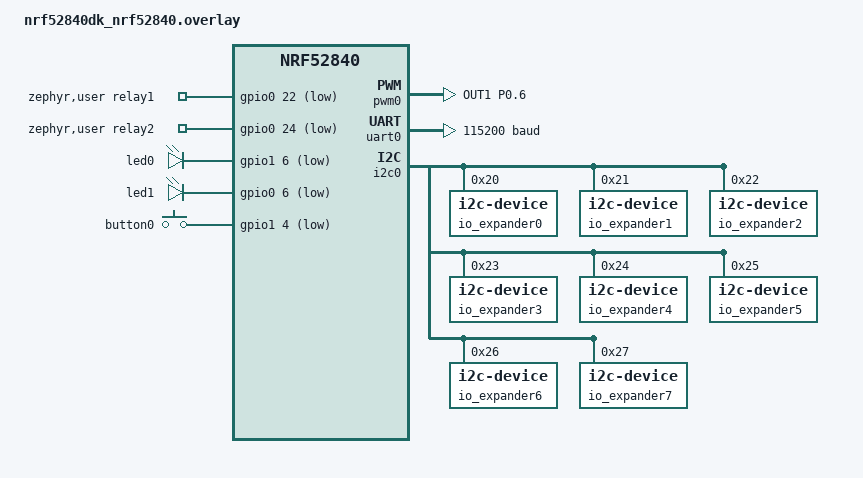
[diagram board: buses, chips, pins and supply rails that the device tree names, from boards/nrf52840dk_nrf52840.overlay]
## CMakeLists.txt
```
#
# Copyright (c) 2021 Nordic Semiconductor ASA
#
# SPDX-License-Identifier: LicenseRef-Nordic-5-Clause
#

cmake_minimum_required(VERSION 3.20.0)

find_package(Zephyr HINTS $ENV{ZEPHYR_BASE})

project(matter-plug-mote)

# Enable GNU STD support.
include(${ZEPHYR_CONNECTEDHOMEIP_MODULE_DIR}/config/nrfconnect/app/enable-gnu-std.cmake)

# NORDIC SDK APP START

# Include all source files that are located in the Matter common directory.
include(${ZEPHYR_NRF_MODULE_DIR}/samples/matter/common/cmake/source_common.cmake)

# Include Data Model utils
include(${ZEPHYR_NRF_MODULE_DIR}/samples/matter/common/cmake/data_model.cmake)

include(${ZEPHYR_NRF_MODULE_DIR}/samples/matter/common/cmake/zap_helpers.cmake)
ncs_get_zap_parent_dir(ZAP_PARENT_DIR)

target_include_directories(app PRIVATE
    src
    ${ZAP_PARENT_DIR}
)

if(CONFIG_AWS_IOT_INTEGRATION)
    add_subdirectory(src/aws_iot_integration)
endif()

target_sources(app PRIVATE
    src/io_relay.cpp
    src/app_task.cpp
    src/main.cpp
    src/zcl_callbacks.cpp
    ${CHIP_ROOT}/src/app/util/persistence/DeferredAttributePersistenceProvider.cpp
)

if(CONFIG_APP_NETWORK_WATCHDOG)
    target_sources(app PRIVATE src/network_watchdog.cpp)
endif()

ncs_configure_data_model()
# NORDIC SDK APP END
```

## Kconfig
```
#
# Copyright (c) 2022 Nordic Semiconductor
#
# SPDX-License-Identifier: LicenseRef-Nordic-5-Clause
#
mainmenu "Matter nRF Connect Light Bulb Example Application"

# Sample configuration used for Thread networking
if OPENTHREAD

choice OPENTHREAD_NORDIC_LIBRARY_CONFIGURATION
	default OPENTHREAD_NORDIC_LIBRARY_FTD
endchoice

choice OPENTHREAD_DEVICE_TYPE
	default OPENTHREAD_FTD
endchoice

endif # OPENTHREAD

source "${ZEPHYR_CONNECTEDHOMEIP_MODULE_DIR}/config/nrfconnect/chip-module/Kconfig.features"
source "${ZEPHYR_CONNECTEDHOMEIP_MODULE_DIR}/config/nrfconnect/chip-module/Kconfig.defaults"
source "${ZEPHYR_NRF_MODULE_DIR}/samples/matter/common/src/Kconfig"
source "Kconfig.zephyr"
rsource "src/aws_iot_integration/Kconfig"
rsource "src/Kconfig.network_watchdog"
```

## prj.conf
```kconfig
#
# Copyright (c) 2022 Nordic Semiconductor ASA
#
# SPDX-License-Identifier: LicenseRef-Nordic-5-Clause
#

# Enable CHIP
CONFIG_CHIP=y
CONFIG_CHIP_PROJECT_CONFIG="src/chip_project_config.h"

# Configure ZAP file name
CONFIG_NCS_SAMPLE_MATTER_ZAP_FILE_PATH="${APPLICATION_CONFIG_DIR}/src/default_zap/smart_plugs.zap"

# 32773 == 0x8005 (smart plugs-app 8chan)
CONFIG_CHIP_DEVICE_PRODUCT_ID=32773
CONFIG_STD_CPP17=y

# Enable Matter pairing automatically on application start.
CONFIG_CHIP_ENABLE_PAIRING_AUTOSTART=y

# Enable Matter extended announcement and increase duration to 1 hour.
CONFIG_CHIP_BLE_EXT_ADVERTISING=y
CONFIG_CHIP_BLE_ADVERTISING_DURATION=60

# Add support for LEDs and buttons on Nordic development kits
CONFIG_DK_LIBRARY=y
CONFIG_PWM=n

# Enable logging for DK library (to see "Initializing LEDs" debug output)
CONFIG_LOG=y
CONFIG_DK_LIBRARY_LOG_LEVEL_INF=y

# Bluetooth Low Energy configuration
CONFIG_BT_DEVICE_NAME="MatterPlug"

# Other settings
CONFIG_THREAD_NAME=y
CONFIG_MPU_STACK_GUARD=y
CONFIG_RESET_ON_FATAL_ERROR=n
CONFIG_CHIP_LIB_SHELL=y
CONFIG_NCS_SAMPLE_MATTER_TEST_SHELL=y

# Reduce application size
CONFIG_USE_SEGGER_RTT=n

# Enable Factory Data feature
CONFIG_CHIP_FACTORY_DATA=y
CONFIG_CHIP_FACTORY_DATA_BUILD=y

# Disable APPROTECT for development
CONFIG_NRF_APPROTECT_USE_UICR=n
# CONFIG_NRF_APPROTECT_LOCK is not set

CONFIG_I2C=y
CONFIG_CLOCK_CONTROL_NRF_K32SRC_RC=y

# Hardware watchdog: reset if Main/Matter threads hang or loop forever
CONFIG_NCS_SAMPLE_MATTER_WATCHDOG=y

# Software watchdog: reboot if commissioned device stays offline too long
CONFIG_APP_NETWORK_WATCHDOG=y
```

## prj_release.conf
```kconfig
#
# Copyright (c) 2022 Nordic Semiconductor ASA
#
# SPDX-License-Identifier: LicenseRef-Nordic-5-Clause
#

# Enable CHIP
CONFIG_CHIP=y
CONFIG_CHIP_PROJECT_CONFIG="src/chip_project_config.h"

# Configure ZAP file name
CONFIG_NCS_SAMPLE_MATTER_ZAP_FILE_PATH="${APPLICATION_CONFIG_DIR}/src/default_zap/plug_mote.zap"

# 32773 == 0x8005 (example lighting-app)
CONFIG_CHIP_DEVICE_PRODUCT_ID=32773
CONFIG_STD_CPP17=y

# Enable Matter pairing automatically on application start.
CONFIG_CHIP_ENABLE_PAIRING_AUTOSTART=y

# Enable Matter extended announcement and increase duration to 1 hour.
CONFIG_CHIP_BLE_EXT_ADVERTISING=y
CONFIG_CHIP_BLE_ADVERTISING_DURATION=60

# Add support for LEDs and buttons on Nordic development kits
CONFIG_DK_LIBRARY=y
CONFIG_PWM=n

# Bluetooth Low Energy configuration
CONFIG_BT_DEVICE_NAME="MatterPlug"

# Enable system reset on fatal error
CONFIG_RESET_ON_FATAL_ERROR=y

# Disable all debug features
CONFIG_USE_SEGGER_RTT=n
CONFIG_SHELL=n
CONFIG_OPENTHREAD_SHELL=n
CONFIG_CONSOLE=n
CONFIG_UART_CONSOLE=n
CONFIG_SERIAL=n
CONFIG_LOG=n
CONFIG_LOG_MODE_MINIMAL=n
CONFIG_ASSERT_VERBOSE=n
CONFIG_ASSERT_NO_FILE_INFO=y
CONFIG_PRINTK=n
CONFIG_PRINTK_SYNC=n
CONFIG_THREAD_NAME=n
CONFIG_BOOT_BANNER=n

# Enable Factory Data feature
CONFIG_CHIP_FACTORY_DATA=y
CONFIG_CHIP_FACTORY_DATA_BUILD=y

# Hardware watchdog: reset if Main/Matter threads hang or loop forever
CONFIG_NCS_SAMPLE_MATTER_WATCHDOG=y

# Software watchdog: reboot if commissioned device stays offline too long
CONFIG_APP_NETWORK_WATCHDOG=y

# Enable LTO to decrease the flash usage.
CONFIG_LTO=y
CONFIG_ISR_TABLES_LOCAL_DECLARATION=y
```

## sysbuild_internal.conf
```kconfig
#
# Copyright (c) 2024 Nordic Semiconductor
#
# SPDX-License-Identifier: LicenseRef-Nordic-5-Clause
#

SB_CONFIG_MATTER=y
SB_CONFIG_PM_OVERRIDE_EXTERNAL_DRIVER_CHECK=n
SB_CONFIG_PM_EXTERNAL_FLASH_MCUBOOT_SECONDARY=n

# Enable the DFU image compression.
# Use SWAP_USING_OFFSET mode (fastest swap mode, no scratch partition needed)
# SB_CONFIG_MCUBOOT_MODE_OVERWRITE_ONLY is not set
SB_CONFIG_MCUBOOT_MODE_SWAP_USING_OFFSET=y
# Note: Compressed image support is only available with OVERWRITE_ONLY mode
# SB_CONFIG_MCUBOOT_COMPRESSED_IMAGE_SUPPORT is not set
```

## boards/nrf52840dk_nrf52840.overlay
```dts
/*
 * Copyright (c) 2021-2022 Nordic Semiconductor ASA
 *
 * SPDX-License-Identifier: LicenseRef-Nordic-5-Clause
 */

/ {
	chosen {
		nordic,pm-ext-flash = &mx25r64;
	};

		/*
	* In some default configurations within the nRF Connect SDK,
	* e.g. on nRF52840, the chosen zephyr,entropy node is &cryptocell.
	* This devicetree overlay ensures that default is overridden wherever it
	* is set, as this application uses the RNG node for entropy exclusively.
	*/

	chosen {
		zephyr,entropy = &rng;
	};


	/*
	* By default, PWM module is only configured for led0 (LED1 on the board).
	* The light bulb app, however, uses LED2 to show the state of the lighting,
	* including its brightness level.
	*/
	aliases {
		pwm-led1 = &pwm_led1;
	};

	/* Relay control pins - use zephyr,user node for custom GPIO configuration */
	zephyr,user {
		relay1-gpios = <&gpio0 22 GPIO_ACTIVE_LOW>;
		relay2-gpios = <&gpio0 24 GPIO_ACTIVE_LOW>;
	};

	pwmleds {
		pwm_led1: pwm_led_1 {
			pwms = <&pwm0 1 PWM_MSEC(100) PWM_POLARITY_NORMAL>;
		};
	};

};

&pwm0 {
	pinctrl-0 = <&pwm0_default_alt>;
	pinctrl-1 = <&pwm0_sleep_alt>;
	pinctrl-names = "default", "sleep";
};

&pinctrl {
	pwm0_default_alt: pwm0_default_alt {
		group1 {
			psels = <NRF_PSEL(PWM_OUT1, 0, 6)>;
			nordic,invert;
		};
	};

	pwm0_sleep_alt: pwm0_sleep_alt {
		group1 {
			psels = <NRF_PSEL(PWM_OUT1, 0, 6)>;
			low-power-enable;
		};
	};

};

/* Disable unused peripherals to reduce power consumption */
&adc {
	status = "disabled";
};
&uart1 {
	status = "disabled";
};

&spi1 {
	status = "disabled";
};
&spi3 {
	status = "disabled";
};
&usbd {
	status = "disabled";
};

&uart0 {
	current-speed = <115200>;
};

&led0 {
	gpios = <&gpio1 6 GPIO_ACTIVE_LOW>;
};
&led1 {
	gpios = <&gpio0 6 GPIO_ACTIVE_LOW>;
};
/* Disable led2 and led3 since they are now used as relay control pins */
&led2 {
	status = "disabled";
};

&led3 {
	status = "disabled";
};

&button0 {
	gpios = <&gpio1 4 GPIO_ACTIVE_LOW>;
	status = "okay";
};

&i2c0 {
	status = "okay";

    io_expander_0: io_expander@20{
        compatible = "i2c-device";
        reg = < 0x20 >;
        label = "io_expander0";
    };

    io_expander_1: io_expander@21{
        compatible = "i2c-device";
        reg = < 0x21 >;
        label = "io_expander1";
    };

    io_expander_2: io_expander@22{
        compatible = "i2c-device";
        reg = < 0x22 >;
        label = "io_expander2";
    };

    io_expander_3: io_expander@23{
        compatible = "i2c-device";
        reg = < 0x23 >;
        label = "io_expander3";
    };

    io_expander_4: io_expander@24{
        compatible = "i2c-device";
        reg = < 0x24 >;
        label = "io_expander4";
    };

    io_expander_5: io_expander@25{
        compatible = "i2c-device";
        reg = < 0x25 >;
        label = "io_expander5";
    };

    io_expander_6: io_expander@26{
        compatible = "i2c-device";
        reg = < 0x26 >;
        label = "io_expander6";
    };

    io_expander_7: io_expander@27{
        compatible = "i2c-device";
        reg = < 0x27 >;
        label = "io_expander7";
    };

};
```

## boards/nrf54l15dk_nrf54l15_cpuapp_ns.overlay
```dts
/*
 * Copyright (c) 2024 Nordic Semiconductor ASA
 *
 * SPDX-License-Identifier: LicenseRef-Nordic-5-Clause
 */

/ {
	aliases {
		// Configure PWM module for led1 (LED2 on the board)
		pwm-led1 = &pwm_led1;

		// Use watchdog wdt31 as the application watchdog
		watchdog0 = &wdt31;
	};

	chosen {
		nordic,pm-ext-flash = &mx25r64;
	};

	/* Relay control pins - use zephyr,user node for custom GPIO configuration */
	zephyr,user {
		relay1-gpios = <&gpio1 9 GPIO_ACTIVE_LOW>;
		relay2-gpios = <&gpio2 10 GPIO_ACTIVE_LOW>;
	};

	pwmleds {
		compatible = "pwm-leds";
		pwm_led1: pwm_led_1 {
			pwms = <&pwm20 1 PWM_MSEC(20) PWM_POLARITY_NORMAL>;
		};
	};
};

// restore full RRAM and SRAM space - by default some parts are dedicated to FLRP
&cpuapp_rram {
	reg = <0x0 DT_SIZE_K(1524)>;
};

&cpuapp_sram {
	reg = <0x20000000 DT_SIZE_K(256)>;
	ranges = <0x0 0x20000000  0x40000>;
};

// TODO: re-enable HWFC once it's fixed
&uart20 {
	/delete-property/ hw-flow-control;
};

&mx25r64 {
	status = "okay";
};

&pwm20 {
	status = "disabled";
	pinctrl-0 = <&pwm_default>;
	pinctrl-1 = <&pwm_sleep>;
	pinctrl-names = "default", "sleep";
};

&pinctrl {
	pwm_default: pwm_default {
		group1 {
			psels = <NRF_PSEL(PWM_OUT1, 1, 10)>;
		};
	};
	pwm_sleep: pwm_sleep {
		group1 {
			psels = <NRF_PSEL(PWM_OUT1, 1, 10)>;
			low-power-enable;
		};
	};

	uart20_default: uart20_default {
		group1 {
			psels = <NRF_PSEL(UART_TX, 1, 4)>;
		};

		group2 {
			psels = <NRF_PSEL(UART_RX, 1, 5)>;
			bias-pull-up;
		};
	};

	uart20_sleep: uart20_sleep {
		group1 {
			psels = <NRF_PSEL(UART_TX, 1, 4)>,
				<NRF_PSEL(UART_RX, 1, 5)>;
			low-power-enable;
		};
	};
};

&wdt31 {
	status = "okay";
};

// Change IRQ ids to handle button interrupts.

// The default values for nRF54L15 are 219 and 269,
// but with TF-M they are reserved for the secure domain
// (218 and 268 are reserved for the non-secure domain).
&gpiote20 {
	interrupts = <218 NRF_DEFAULT_IRQ_PRIORITY>;
};

&gpiote30 {
	interrupts = <268 NRF_DEFAULT_IRQ_PRIORITY>;
};

&clock {
	status = "okay";
};

&adc {
	status = "disabled";
};

&led0 {
	gpios = <&gpio1 5 GPIO_ACTIVE_LOW>;
};
&led1 {
	gpios = <&gpio1 7 GPIO_ACTIVE_LOW>;
};
/* Disable led2 and led3 since they are now used as relay control pins */
&led2 {
	status = "disabled";
};

&led3 {
	status = "disabled";
};

&button0 {
	gpios = <&gpio1 8 GPIO_ACTIVE_LOW>;
	status = "okay";
};


&button1 {
	status = "disabled";
};

&button2{
	status = "disabled";
};

&button3 {
	status = "disabled";
};

&pinctrl {
	i2c22_default: i2c22_default {
		group1 {
			psels = <NRF_PSEL(TWIM_SDA, 1, 13)>,
				<NRF_PSEL(TWIM_SCL, 1, 12)>;
			bias-pull-up;
		};
	};
	i2c22_sleep: i2c22_sleep {
		group1 {
			psels = <NRF_PSEL(TWIM_SDA, 1, 13)>,
				<NRF_PSEL(TWIM_SCL, 1, 12)>;
			low-power-enable;
			bias-pull-up;
		};
	};
};


&i2c22 {
	status = "okay";

	pinctrl-0 = <&i2c22_default>;
	pinctrl-1 = <&i2c22_sleep>;
	pinctrl-names = "default", "sleep";

	// IO expander 0 are on the PCA8574 for the relay control
    io_expander_0: io_expander@20{
        compatible = "i2c-device";
        reg = < 0x20 >;
        label = "io_expander0";
    };

	// IO expander 1 are on the PCA8574 for the manual-button read
    io_expander_1: io_expander@38{
        compatible = "i2c-device";
        reg = < 0x38 >;
        label = "io_expander1";
    };

	// IO expander 2 are on the PCF8574A for the relay control
    io_expander_2: io_expander@21{
        compatible = "i2c-device";
        reg = < 0x21 >;
        label = "io_expander2";
    };

	// IO 3 are on the PCF8574A for the manual-button read
    io_expander_3: io_expander@39{
        compatible = "i2c-device";
        reg = < 0x39 >;
        label = "io_expander3";
    };


	clock-frequency = <I2C_BITRATE_STANDARD>;
};
```

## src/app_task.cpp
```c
/*
 * Copyright (c) 2021 Nordic Semiconductor ASA
 *
 * SPDX-License-Identifier: LicenseRef-Nordic-5-Clause
 */

#include "app_task.h"

#ifdef CONFIG_AWS_IOT_INTEGRATION
#include "aws_iot_integration.h"
#endif

#ifdef CONFIG_APP_NETWORK_WATCHDOG
#include "network_watchdog.h"
#endif

#include "app/matter_init.h"
#include "app/task_executor.h"

#if defined(CONFIG_PWM)
#include "pwm/pwm_device.h"
#endif

#include <app-common/zap-generated/attributes/Accessors.h>
#include <app/clusters/identify-server/identify-server.h>
#include <app/server/Server.h>
#include <app/util/persistence/DefaultAttributePersistenceProvider.h>
#include <app/util/persistence/DeferredAttributePersistenceProvider.h>
#include <setup_payload/OnboardingCodesUtil.h>

#include <zephyr/logging/log.h>

LOG_MODULE_DECLARE(app, CONFIG_CHIP_APP_LOG_LEVEL);

using namespace ::chip;
using namespace ::chip::app;
using namespace ::chip::DeviceLayer;

namespace
{
constexpr EndpointId kLightEndpointId = 1;
constexpr uint8_t kDefaultMinLevel = 0;
constexpr uint8_t kDefaultMaxLevel = 254;
constexpr uint16_t kTriggerEffectTimeout = 5000;
constexpr uint16_t kTriggerEffectFinishTimeout = 1000;

k_timer sTriggerEffectTimer;

Identify sIdentify = { kLightEndpointId, AppTask::IdentifyStartHandler, AppTask::IdentifyStopHandler,
		       Clusters::Identify::IdentifyTypeEnum::kVisibleIndicator, AppTask::TriggerIdentifyEffectHandler };

bool sIsTriggerEffectActive = false;

#if defined(CONFIG_PWM)
const struct pwm_dt_spec sLightPwmDevice = PWM_DT_SPEC_GET(DT_ALIAS(pwm_led1));
#endif

// Define a custom attribute persister which makes actual write of the CurrentLevel attribute value
// to the non-volatile storage only when it has remained constant for 5 seconds. This is to reduce
// the flash wearout when the attribute changes frequently as a result of MoveToLevel command.
// DeferredAttribute object describes a deferred attribute, but also holds a buffer with a value to
// be written, so it must live so long as the DeferredAttributePersistenceProvider object.
DeferredAttribute gCurrentLevelPersister(ConcreteAttributePath(kLightEndpointId, Clusters::LevelControl::Id,
							       Clusters::LevelControl::Attributes::CurrentLevel::Id));

// Deferred persistence will be auto-initialized as soon as the default persistence is initialized
DefaultAttributePersistenceProvider gSimpleAttributePersistence;
DeferredAttributePersistenceProvider gDeferredAttributePersister(gSimpleAttributePersistence,
								 Span<DeferredAttribute>(&gCurrentLevelPersister, 1),
								 System::Clock::Milliseconds32(5000));

#define APPLICATION_BUTTON_MASK DK_BTN2_MSK
} /* namespace */

void AppTask::IdentifyStartHandler(Identify *)
{
	Nrf::PostTask(
		[] { Nrf::GetBoard().GetLED(Nrf::DeviceLeds::LED2).Blink(Nrf::LedConsts::kIdentifyBlinkRate_ms); });
}

void AppTask::IdentifyStopHandler(Identify *)
{
	Nrf::PostTask([] {
		Nrf::GetBoard().GetLED(Nrf::DeviceLeds::LED2).Set(false);

#if defined(CONFIG_PWM)
		Instance().mPWMDevice.ApplyLevel();
#endif
	});
}

void AppTask::TriggerEffectTimerTimeoutCallback(k_timer *timer)
{
	LOG_INF("Identify effect completed");

	sIsTriggerEffectActive = false;

	Nrf::GetBoard().GetLED(Nrf::DeviceLeds::LED2).Set(false);

#if defined(CONFIG_PWM)
	Instance().mPWMDevice.ApplyLevel();
#endif
}

void AppTask::TriggerIdentifyEffectHandler(Identify *identify)
{
	switch (identify->mCurrentEffectIdentifier) {
	/* Just handle all effects in the same way. */
	case Clusters::Identify::EffectIdentifierEnum::kBlink:
	case Clusters::Identify::EffectIdentifierEnum::kBreathe:
	case Clusters::Identify::EffectIdentifierEnum::kOkay:
	case Clusters::Identify::EffectIdentifierEnum::kChannelChange:
		LOG_INF("Identify effect identifier changed to %d",
			static_cast<uint8_t>(identify->mCurrentEffectIdentifier));

		sIsTriggerEffectActive = false;

		k_timer_stop(&sTriggerEffectTimer);
		k_timer_start(&sTriggerEffectTimer, K_MSEC(kTriggerEffectTimeout), K_NO_WAIT);

#if defined(CONFIG_PWM)
		Instance().mPWMDevice.SuppressOutput();
#endif
		Nrf::GetBoard().GetLED(Nrf::DeviceLeds::LED2).Blink(Nrf::LedConsts::kIdentifyBlinkRate_ms);

		break;
	case Clusters::Identify::EffectIdentifierEnum::kFinishEffect:
		LOG_INF("Identify effect finish triggered");
		k_timer_stop(&sTriggerEffectTimer);
		k_timer_start(&sTriggerEffectTimer, K_MSEC(kTriggerEffectFinishTimeout), K_NO_WAIT);
		break;
	case Clusters::Identify::EffectIdentifierEnum::kStopEffect:
		if (sIsTriggerEffectActive) {
			sIsTriggerEffectActive = false;

			k_timer_stop(&sTriggerEffectTimer);

			Nrf::GetBoard().GetLED(Nrf::DeviceLeds::LED2).Set(false);

#if defined(CONFIG_PWM)
			Instance().mPWMDevice.ApplyLevel();
#endif
		}
		break;
	default:
		LOG_ERR("Received invalid effect identifier.");
		break;
	}
}

void AppTask::LightingActionEventHandler(const LightingEvent &event)
{
#if defined(CONFIG_PWM)
	Nrf::PWMDevice::Action_t action = Nrf::PWMDevice::INVALID_ACTION;
	int32_t actor = 0;
	if (event.Actor == LightingActor::Button) {
		action = Instance().mPWMDevice.IsTurnedOn() ? Nrf::PWMDevice::OFF_ACTION : Nrf::PWMDevice::ON_ACTION;
		actor = static_cast<int32_t>(event.Actor);
	}

	if (action == Nrf::PWMDevice::INVALID_ACTION || !Instance().mPWMDevice.InitiateAction(action, actor, NULL)) {
		LOG_INF("An action could not be initiated.");
	}
#else
	IO_Relay::Action_t action = IO_Relay::INVALID_ACTION;
	int32_t actor = 0;
	// if (event.Actor == LightingActor::Button) {
	// 	action = Instance().mIO_RelayDevice.IsTurnedOn(event.Slot) ? IO_Relay::OFF_ACTION : IO_Relay::ON_ACTION;
	// 	actor = static_cast<int32_t>(event.Actor);
	// }

	if (action == IO_Relay::INVALID_ACTION) {
		LOG_INF("An action could not be initiated.");
	}
#endif
}

void AppTask::ButtonEventHandler(Nrf::ButtonState state, Nrf::ButtonMask hasChanged)
{
	static int64_t buttonPressedTime = 0;

	// check if the button is pressed
	if ((APPLICATION_BUTTON_MASK & hasChanged) & state) {
		// record the time when the button is pressed
		buttonPressedTime = k_uptime_get();
	}
	// check if the button is released
	else if ((APPLICATION_BUTTON_MASK & hasChanged) & ~state) {
		int64_t now = k_uptime_get();
		if (buttonPressedTime > 0 && (now - buttonPressedTime) >= 5000) { // long press for more than 5 seconds, reset the factory
			LOG_INF("Factory Reset triggered by long button press");
			chip::Server::GetInstance().ScheduleFactoryReset();
		} else if (buttonPressedTime > 0) { // short press, toggle the light state
			Nrf::PostTask([] {
				LightingEvent event;
				event.Actor = LightingActor::Button;
				LightingActionEventHandler(event);
			});
		}
		buttonPressedTime = 0;
	}
}

#ifdef CONFIG_AWS_IOT_INTEGRATION
bool AppTask::AWSIntegrationCallback(struct aws_iot_integration_cb_data *data)
{
	LOG_INF("Attribute change requested from AWS IoT: %d", data->value);

	Protocols::InteractionModel::Status status;

	VerifyOrDie(data->error == 0);

	if (data->attribute_id == ATTRIBUTE_ID_ONOFF) {
		/* write the new on/off value */
		status = Clusters::OnOff::Attributes::OnOff::Set(kLightEndpointId, data->value);
		if (status != Protocols::InteractionModel::Status::Success) {
			LOG_ERR("Updating on/off cluster failed: %x", to_underlying(status));
			return false;
		}
	} else if (data->attribute_id == ATTRIBUTE_ID_LEVEL_CONTROL) {
		/* write the current level */
		status = Clusters::LevelControl::Attributes::CurrentLevel::Set(kLightEndpointId, data->value);

		if (status != Protocols::InteractionModel::Status::Success) {
			LOG_ERR("Updating level cluster failed: %x", to_underlying(status));
			return false;
		}
	}

	return true;
}
#endif /* CONFIG_AWS_IOT_INTEGRATION */

#if defined(CONFIG_PWM)
void AppTask::ActionInitiated(Nrf::PWMDevice::Action_t action, int32_t actor)
{
	if (action == Nrf::PWMDevice::ON_ACTION) {
		LOG_INF("Turn On Action has been initiated");
	} else if (action == Nrf::PWMDevice::OFF_ACTION) {
		LOG_INF("Turn Off Action has been initiated");
	} else if (action == Nrf::PWMDevice::LEVEL_ACTION) {
		LOG_INF("Level Action has been initiated");
	}
}

void AppTask::ActionCompleted(Nrf::PWMDevice::Action_t action, int32_t actor)
{
	if (action == Nrf::PWMDevice::ON_ACTION) {
		LOG_INF("Turn On Action has been completed");
	} else if (action == Nrf::PWMDevice::OFF_ACTION) {
		LOG_INF("Turn Off Action has been completed");
	} else if (action == Nrf::PWMDevice::LEVEL_ACTION) {
		LOG_INF("Level Action has been completed");
	}

	if (actor == static_cast<int32_t>(LightingActor::Button)) {
		Instance().UpdateClusterState();
	}
}
#endif /* CONFIG_PWM */

void AppTask::UpdateClusterState()
{
	SystemLayer().ScheduleLambda([this] {
#if defined(CONFIG_PWM)
		/* write the new on/off value */
		Protocols::InteractionModel::Status status =
			Clusters::OnOff::Attributes::OnOff::Set(kLightEndpointId, mPWMDevice.IsTurnedOn());
#else
		Protocols::InteractionModel::Status status =
		Clusters::OnOff::Attributes::OnOff::Set(kLightEndpointId, mIO_RelayDevice.IsTurnedOn((static_cast<int>(kLightEndpointId) - 1) / 4, (static_cast<int>(kLightEndpointId) - 1) % 4));
#endif
		if (status != Protocols::InteractionModel::Status::Success) {
			LOG_ERR("Updating on/off cluster failed: %x", to_underlying(status));
		}

#if defined(CONFIG_PWM)
		/* write the current level */
		status = Clusters::LevelControl::Attributes::CurrentLevel::Set(kLightEndpointId, mPWMDevice.GetLevel());
#endif

		if (status != Protocols::InteractionModel::Status::Success) {
			LOG_ERR("Updating level cluster failed: %x", to_underlying(status));
		}
	});
}

void AppTask::InitPWMDDevice()
{
#if defined(CONFIG_PWM)
	/* Initialize lighting device (PWM) */
	uint8_t minLightLevel = kDefaultMinLevel;
	Clusters::LevelControl::Attributes::MinLevel::Get(kLightEndpointId, &minLightLevel);

	uint8_t maxLightLevel = kDefaultMaxLevel;
	Clusters::LevelControl::Attributes::MaxLevel::Get(kLightEndpointId, &maxLightLevel);

	Clusters::LevelControl::Attributes::CurrentLevel::TypeInfo::Type currentLevel;
	Clusters::LevelControl::Attributes::CurrentLevel::Get(kLightEndpointId, currentLevel);

	int ret =
		mPWMDevice.Init(&sLightPwmDevice, minLightLevel, maxLightLevel, currentLevel.ValueOr(kDefaultMaxLevel));
	if (ret != 0) {
		LOG_ERR("Failed to initialize PWD device.");
	}

	mPWMDevice.SetCallbacks(ActionInitiated, ActionCompleted);
#endif
}

CHIP_ERROR AppTask::Init()
{
	/* Initialize Matter stack */
	ReturnErrorOnFailure(Nrf::Matter::PrepareServer(Nrf::Matter::InitData{ .mPostServerInitClbk = []() {
		app::SetAttributePersistenceProvider(&gDeferredAttributePersister);
		gSimpleAttributePersistence.Init(Nrf::Matter::GetPersistentStorageDelegate());
		return CHIP_NO_ERROR;
	} }));

	if (!Nrf::GetBoard().Init(ButtonEventHandler)) {
		LOG_ERR("User interface initialization failed.");
		return CHIP_ERROR_INCORRECT_STATE;
	}

	/* Register Matter event handler that controls the connectivity status LED based on the captured Matter network
	 * state. */
	ReturnErrorOnFailure(Nrf::Matter::RegisterEventHandler(Nrf::Board::DefaultMatterEventHandler, 0));

#ifdef CONFIG_AWS_IOT_INTEGRATION
	int retAws = aws_iot_integration_register_callback(AWSIntegrationCallback);
	if (retAws) {
		LOG_ERR("aws_iot_integration_register_callback() failed");
		return chip::System::MapErrorZephyr(retAws);
	}
#endif

	/* Initialize trigger effect timer */
	k_timer_init(&sTriggerEffectTimer, &AppTask::TriggerEffectTimerTimeoutCallback, nullptr);

	ReturnErrorOnFailure(Nrf::Matter::StartServer());

#ifdef CONFIG_APP_NETWORK_WATCHDOG
	ReturnErrorOnFailure(NetworkWatchdog::Init());
#endif

	return CHIP_NO_ERROR;
}

CHIP_ERROR AppTask::StartApp()
{
	ReturnErrorOnFailure(Init());

	while (true) {
		Nrf::DispatchNextTask();
	}

	return CHIP_NO_ERROR;
}

BootReasonType AppTask::ResetReasonGet(void)
{
    BootReasonType bootReason;

    DiagnosticDataProviderImplNrf::GetDefaultInstance().GetBootReason(bootReason);


    return bootReason; 
}
```

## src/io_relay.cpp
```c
/*
 * Copyright (c) 2018 Nordic Semiconductor ASA
 *
 * SPDX-License-Identifier: Apache-2.0
 */
#include <stdio.h>
#include <stdlib.h>
#include <ctype.h>

#ifdef CONFIG_ARCH_POSIX
#include <unistd.h>
#else
#include <zephyr/posix/unistd.h>
#endif

#include <zephyr/logging/log.h>

#include "io_relay.h"


LOG_MODULE_REGISTER(io_ctrl);





int IO_Relay::Set(int slot, int chl, Action_t aAction)
{
	int ret;
	uint8_t buf[2] = {0};

	if (slot < 0 || slot >= 2 || chl < 0 || chl >= 4) {
		LOG_ERR("IO_Relay::Set: invalid slot %d chl %d", slot, chl);
		return -1;
	}

	if (!device_is_ready(mIOExpander[slot].bus)) {
		LOG_ERR("I2C bus %s is not ready!\n\r",mIOExpander[slot].bus->name);
		return -1;
	}

	/* Keep the i2c pin with right state, recover bus first */
	i2c_recover_bus(mIOExpander[slot].bus);

	// ret = i2c_read_dt(&mIOExpander[slot], buf, 1);
	// if(ret != 0){
	// 	LOG_ERR("Failed to read from I2C device address %x at Reg. %x \n", mIOExpander[slot].addr, buf[0]);
	// 	return -1;
	// }	

	buf[0] = buf[0] & (~(0x3<<(2*chl)));
	if(aAction == OFF_ACTION){
		buf[0] |= (0x02 << (2*chl));
	}
	else{
		buf[0] |= (0x01 << (2*chl));
	}

	ret = i2c_write_dt(&mIOExpander[slot], buf, 1);
	if(ret != 0){
		LOG_ERR("Failed to write to I2C device address %x at reg. %x \n", mIOExpander[slot].addr, buf[0]);
		return -1;
	}

	k_sleep(K_MSEC(10));

	buf[0] = 0x00; // all outputs are low
	ret = i2c_write_dt(&mIOExpander[slot], buf, 1);
	if(ret != 0){
		LOG_ERR("Failed to write to I2C device address %x at reg. %x \n", mIOExpander[slot].addr, buf[0]);
		return -1;
	}

	LOG_INF("IO_Relay::Set: slot %d, chl %d, action %s", slot, chl, aAction == ON_ACTION ? "ON" : "OFF");
	return 0;
}

bool IO_Relay::InitiateAction(int slot, int chl, Action_t aAction, int32_t aActor, uint8_t *aValue)
{

	if(Set(slot, chl, aAction) != 0){
		return false;
	}

	return true;
}

void IO_Relay::SetCallbacks(int slot, int chl, IO_RelayCallback aActionInitiatedClb, IO_RelayCallback aActionCompletedClb)
{
	mActionInitiatedClb[slot][chl] = aActionInitiatedClb;
	mActionCompletedClb[slot][chl] = aActionCompletedClb;
}

int IO_Relay::Init(int slot, int chl, bool aDefaultState)
{
	if(Set(slot, chl, aDefaultState ? ON_ACTION : OFF_ACTION) != 0){
		return -1;
	}
	mState[slot][chl] = aDefaultState ? kState_On : kState_Off;
	return 0;
}
```

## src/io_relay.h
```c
/*
 * Copyright (c) 2022 Nordic Semiconductor ASA
 *
 * SPDX-License-Identifier: LicenseRef-Nordic-5-Clause
 */

 #pragma once

 #include <cstdint>
 #include <zephyr/drivers/gpio.h>
 #include <zephyr/drivers/i2c.h>
 
 class IO_Relay {
 public:
	 enum Action_t : uint8_t {
		 ON_ACTION = 0,
		 OFF_ACTION,
		 LEVEL_ACTION,
 
		 INVALID_ACTION
	 };
 
	 enum State_t : uint8_t {
		 kState_On = 0,
		 kState_Off,
	 };
 
	 using IO_RelayCallback = void (*)(Action_t, int32_t);
 
	 IO_Relay()
		 : mIOExpander{ 
			I2C_DT_SPEC_GET(DT_NODELABEL(io_expander_0)),
			I2C_DT_SPEC_GET(DT_NODELABEL(io_expander_2)) },
		   mIOManualButtonReader{ 
			I2C_DT_SPEC_GET(DT_NODELABEL(io_expander_1)),
			I2C_DT_SPEC_GET(DT_NODELABEL(io_expander_3)) }
	 {
	 }

	 int Init(int slot, int chl, bool aDefaultState = false);
	 bool IsTurnedOn(int slot, int chl) const { return mState[slot][chl] == kState_On; }
	 bool InitiateAction(int slot, int chl, Action_t aAction, int32_t aActor, uint8_t *aValue = nullptr);
	 void SetCallbacks(int slot, int chl, IO_RelayCallback aActionInitiatedClb, IO_RelayCallback aActionCompletedClb);
	//  const device *GetDevice(int slot) { return mIOExpander[slot]->dev; }
	//  void SuppressOutput(int slot);
	 int Set(int slot, int chl, Action_t aAction); 
 private:
	 State_t mState[2][4];
	 const struct i2c_dt_spec mIOExpander[2];
	 const struct i2c_dt_spec mIOManualButtonReader[2];
 
	 IO_RelayCallback mActionInitiatedClb[2][4];
	 IO_RelayCallback mActionCompletedClb[2][4];
 };
 
```

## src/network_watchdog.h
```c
/*
 * Copyright (c) 2026
 *
 * SPDX-License-Identifier: LicenseRef-Nordic-5-Clause
 */

#pragma once

#include <lib/core/CHIPError.h>

namespace NetworkWatchdog
{

/**
 * Start periodic connectivity checks. Call after the Matter server is ready.
 * When commissioned + provisioned but offline longer than the configured
 * timeout, the device reboots.
 */
CHIP_ERROR Init();

} /* namespace NetworkWatchdog */
```

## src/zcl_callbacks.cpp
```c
/*
 * Copyright (c) 2021 Nordic Semiconductor ASA
 *
 * SPDX-License-Identifier: LicenseRef-Nordic-5-Clause
 */

#include <lib/support/logging/CHIPLogging.h>

#include "app_task.h"

#ifdef CONFIG_AWS_IOT_INTEGRATION
#include "aws_iot_integration.h"
#endif

#include <app-common/zap-generated/attributes/Accessors.h>
#include <app-common/zap-generated/ids/Attributes.h>
#include <app-common/zap-generated/ids/Clusters.h>
#include <app/ConcreteAttributePath.h>

using namespace ::chip;
using namespace ::chip::app::Clusters;
using namespace ::chip::app::Clusters::OnOff;

void MatterPostAttributeChangeCallback(const chip::app::ConcreteAttributePath &attributePath, uint8_t type,
				       uint16_t size, uint8_t *value)
{
	ClusterId clusterId = attributePath.mClusterId;
	AttributeId attributeId = attributePath.mAttributeId;
	EndpointId aEndpointId = attributePath.mEndpointId;
	const int ep = static_cast<int>(aEndpointId);
	const int slot = (ep - 1) / 4;
	const int chl = (ep - 1) % 4;

	if (clusterId == OnOff::Id && attributeId == OnOff::Attributes::OnOff::Id) {
		ChipLogProgress(Zcl, "Cluster OnOff: attribute OnOff set to %" PRIu8 "", *value);

#if defined(CONFIG_PWM)
		AppTask::Instance().GetPWMDevice().InitiateAction(*value ? Nrf::PWMDevice::ON_ACTION :
									   Nrf::PWMDevice::OFF_ACTION,
								  static_cast<int32_t>(LightingActor::Remote), value);
#else
		AppTask::Instance().GetRelayDevice().Set(
					slot, 
					chl, 
					*value ? IO_Relay::ON_ACTION : IO_Relay::OFF_ACTION);
#endif

#ifdef CONFIG_AWS_IOT_INTEGRATION
		aws_iot_integration_attribute_set(ATTRIBUTE_ID_ONOFF, *value);
#endif

	} else if (clusterId == LevelControl::Id && attributeId == LevelControl::Attributes::CurrentLevel::Id) {
		ChipLogProgress(Zcl, "Cluster LevelControl: attribute CurrentLevel set to %" PRIu8 "", *value);
#if defined(CONFIG_PWM)
		if (AppTask::Instance().GetPWMDevice().IsTurnedOn()) {
			AppTask::Instance().GetPWMDevice().InitiateAction(
				Nrf::PWMDevice::LEVEL_ACTION, static_cast<int32_t>(LightingActor::Remote), value);
		} else {
			ChipLogDetail(Zcl, "LED is off. Try to use move-to-level-with-on-off instead of move-to-level");
		}
#endif

#ifdef CONFIG_AWS_IOT_INTEGRATION
		aws_iot_integration_attribute_set(ATTRIBUTE_ID_LEVEL_CONTROL, *value);
#endif
	}
}

/** @brief OnOff Cluster Init
 *
 * This function is called when a specific cluster is initialized. It gives the
 * application an opportunity to take care of cluster initialization procedures.
 * It is called exactly once for each endpoint where cluster is present.
 *
 * @param endpoint   Ver.: always
 *
 * TODO Issue #3841
 * emberAfOnOffClusterInitCallback happens before the stack initialize the cluster
 * attributes to the default value.
 * The logic here expects something similar to the deprecated Plugins callback
 * emberAfPluginOnOffClusterServerPostInitCallback.
 *
 */
void emberAfOnOffClusterInitCallback(EndpointId endpoint)
{
	Protocols::InteractionModel::Status status;
	BootReasonType reset_reason;
	bool storedValue;

    reset_reason = AppTask::Instance().ResetReasonGet();
	const int ep = static_cast<int>(endpoint);
	const int slot = (ep - 1) / 4;
	const int chl = (ep - 1) % 4;
    
    if(reset_reason == BootReasonType::kPowerOnReboot){
		/* Init(slot, chl, defaultOn); must match MatterPostAttributeChangeCallback mapping */
		AppTask::Instance().GetRelayDevice().Init(slot, chl, false);
    }
	else{
		/* Read storedValue on/off value */
		status = Attributes::OnOff::Get(endpoint, &storedValue);

		if (status == Protocols::InteractionModel::Status::Success) {
			/* Set actual state to the cluster state that was last persisted */

			AppTask::Instance().GetRelayDevice().InitiateAction(
				slot, 
				chl, 
				storedValue ? IO_Relay::ON_ACTION : IO_Relay::OFF_ACTION, 
				static_cast<int32_t>(LightingActor::Remote), reinterpret_cast<uint8_t *>(&storedValue));

		}
	}
	AppTask::Instance().UpdateClusterState();
}
```
